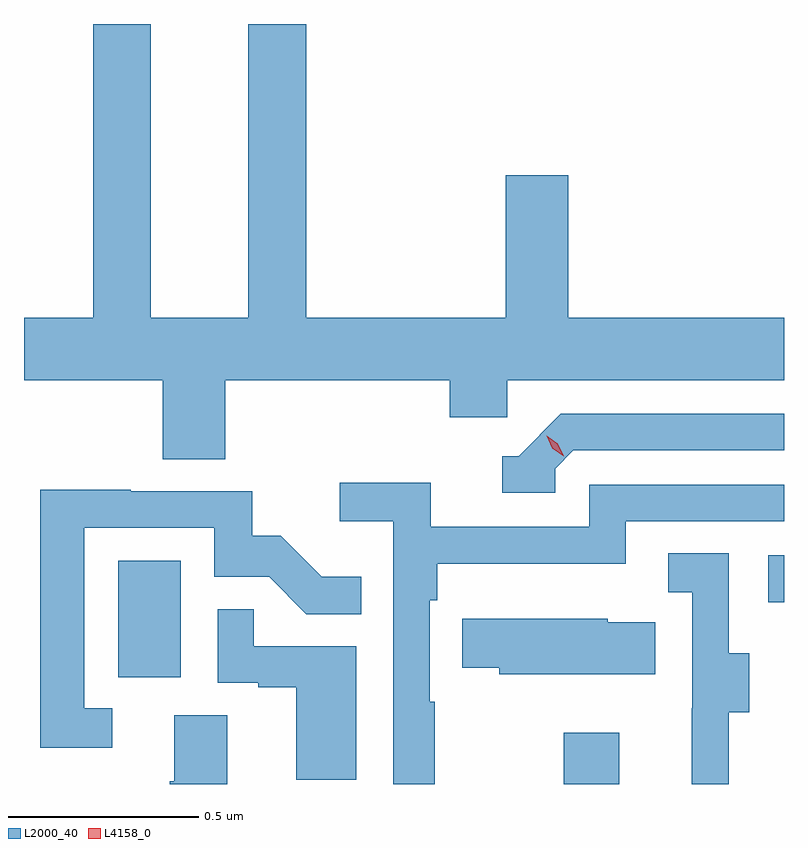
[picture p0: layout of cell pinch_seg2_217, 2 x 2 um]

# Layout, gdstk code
import gdstk
lib = gdstk.Library(unit=1e-6, precision=1e-09)
def R(c, l, rs):  # rectangles x0, y0, x1, y1
    for r in rs: c.add(gdstk.rectangle(r[:2], r[2:], *l))
def P(c, l, *ps):  # polygons
    for p in ps: c.add(gdstk.Polygon(p, *l))
L2000_40 = (2000, 40)
L4158_0 = (4158, 0)

pinch_seg2_217 = lib.new_cell('pinch_seg2_217')
R(pinch_seg2_217, L2000_40, [(956.368,649.237,956.515,649.372), (955.196,649.518,955.36,649.825), (956.907,649.715,956.948,649.839)])
P(pinch_seg2_217, L2000_40, [(955.478,650.3),(956.069,650.3),(956.069,650.202),(956.22,650.202),(956.22,650.3),(956.948,650.3),(956.948,650.464),(956.38,650.464),(956.38,650.839),(956.216,650.839),(956.216,650.464),(955.691,650.464),(955.691,651.237),(955.538,651.237),(955.538,650.464),(955.282,650.464),(955.282,651.237),(955.13,651.237),(955.13,650.464),(954.948,650.464),(954.948,650.3),(955.313,650.3),(955.313,650.092),(955.478,650.092)],
  [(956.346,650.067),(956.394,650.115),(956.948,650.115),(956.948,650.211),(956.361,650.211),(956.25,650.1),(956.207,650.1),(956.207,650.004),(956.346,650.004)],
  [(956.029,649.454),(956.016,649.454),(956.016,649.721),(956.036,649.721),(956.036,649.817),(956.532,649.817),(956.532,649.929),(956.948,649.929),(956.948,650.025),(956.436,650.025),(956.436,649.914),(956.018,649.914),(956.018,650.03),(955.779,650.03),(955.779,649.928),(955.92,649.928),(955.92,649.237),(956.029,649.237)],
  [(955.18,649.437),(955.107,649.437),(955.107,649.911),(955.449,649.911),(955.449,649.782),(955.593,649.782),(955.691,649.684),(955.835,649.684),(955.835,649.783),(955.731,649.783),(955.624,649.89),(955.548,649.89),(955.548,650.007),(955.229,650.007),(955.229,650.012),(954.991,650.012),(954.991,649.332),(955.18,649.332)],
  [(956.803,649.426),(956.857,649.426),(956.857,649.581),(956.802,649.581),(956.802,649.844),(956.643,649.844),(956.643,649.741),(956.706,649.741),(956.706,649.437),(956.705,649.437),(956.705,649.237),(956.803,649.237)],
  [(955.822,649.599),(955.553,649.599),(955.553,649.697),(955.458,649.697),(955.458,649.503),(955.565,649.503),(955.565,649.491),(955.664,649.491),(955.664,649.248),(955.822,649.248)],
  [(956.609,649.663),(956.484,649.663),(956.484,649.672),(956.101,649.672),(956.101,649.543),(956.199,649.543),(956.199,649.526),(956.609,649.526)],
  [(955.483,649.418),(955.343,649.418),(955.343,649.244),(955.331,649.244),(955.331,649.237),(955.483,649.237)])
P(pinch_seg2_217, L4158_0, [(956.369,650.1),(956.338,650.12),(956.323,650.153),(956.323,650.153),(956.323,650.153),(956.353,650.133),(956.369,650.101),(956.369,650.1)])

lib.write_gds('pinch_seg2_217.gds')
